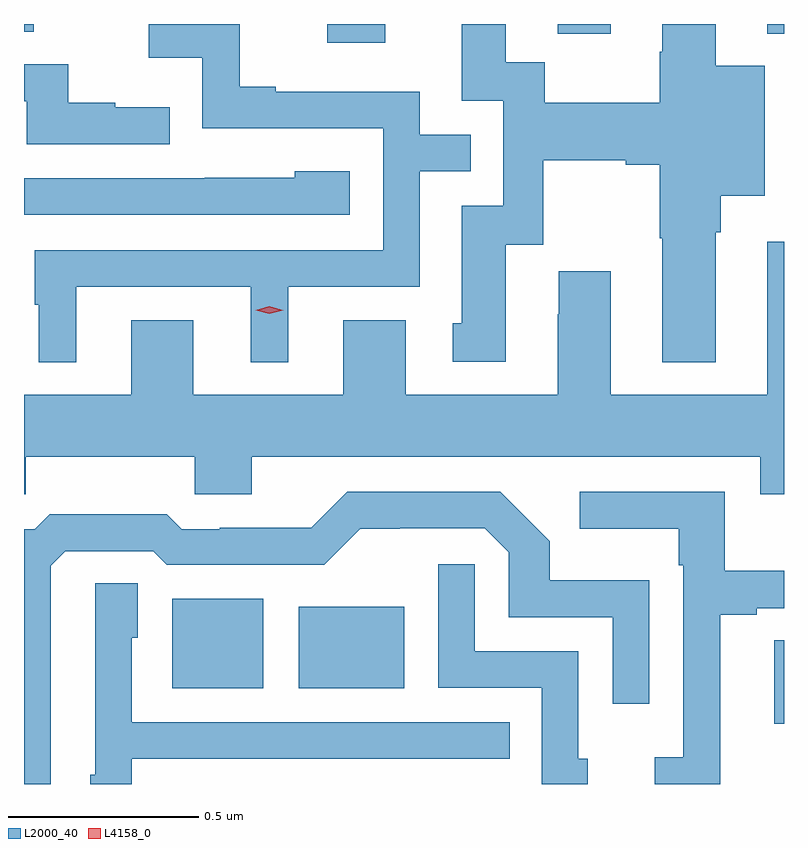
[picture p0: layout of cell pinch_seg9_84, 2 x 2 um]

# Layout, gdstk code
import gdstk
lib = gdstk.Library(unit=1e-6, precision=1e-09)
def R(c, l, rs):  # rectangles x0, y0, x1, y1
    for r in rs: c.add(gdstk.rectangle(r[:2], r[2:], *l))
def P(c, l, *ps):  # polygons
    for p in ps: c.add(gdstk.Polygon(p, *l))
L2000_40 = (2000, 40)
L4158_0 = (4158, 0)

pinch_seg9_84 = lib.new_cell('pinch_seg9_84')
R(pinch_seg9_84, L2000_40, [(1116.395,1198.382,1116.421,1198.601), (1114.811,1198.475,1115.05,1198.711), (1115.144,1198.475,1115.422,1198.69), (1115.219,1200.174,1115.371,1200.223), (1115.825,1200.198,1115.965,1200.223), (1116.377,1200.198,1116.421,1200.223), (1114.421,1200.202,1114.447,1200.223)])
P(pinch_seg9_84, L2000_40, [(1116.241,1199.675),(1116.254,1199.675),(1116.254,1199.771),(1116.37,1199.771),(1116.37,1200.113),(1116.241,1200.113),(1116.241,1200.223),(1116.101,1200.223),(1116.101,1200.15),(1116.094,1200.15),(1116.094,1200.016),(1115.791,1200.016),(1115.791,1200.122),(1115.689,1200.122),(1115.689,1200.223),(1115.573,1200.223),(1115.573,1200.021),(1115.682,1200.021),(1115.682,1199.745),(1115.573,1199.745),(1115.573,1199.436),(1115.549,1199.436),(1115.549,1199.334),(1115.689,1199.334),(1115.689,1199.642),(1115.787,1199.642),(1115.787,1199.864),(1116.005,1199.864),(1116.005,1199.852),(1116.094,1199.852),(1116.094,1199.659),(1116.101,1199.659),(1116.101,1199.333),(1116.241,1199.333)],
  [(1114.558,1199.532),(1115.018,1199.532),(1115.018,1199.333),(1115.116,1199.333),(1115.116,1199.532),(1115.463,1199.532),(1115.463,1199.835),(1115.597,1199.835),(1115.597,1199.931),(1115.463,1199.931),(1115.463,1200.045),(1115.083,1200.045),(1115.083,1200.058),(1114.989,1200.058),(1114.989,1200.223),(1114.749,1200.223),(1114.749,1200.134),(1114.89,1200.134),(1114.89,1199.949),(1115.367,1199.949),(1115.367,1199.628),(1114.449,1199.628),(1114.449,1199.484),(1114.46,1199.484),(1114.46,1199.333),(1114.558,1199.333)],
  [(1114.805,1200.004),(1114.661,1200.004),(1114.661,1200.016),(1114.538,1200.016),(1114.538,1200.117),(1114.421,1200.117),(1114.421,1200.02),(1114.428,1200.02),(1114.428,1199.907),(1114.805,1199.907)],
  [(1115.278,1199.836),(1115.133,1199.836),(1115.133,1199.818),(1114.897,1199.818),(1114.897,1199.817),(1114.421,1199.817),(1114.421,1199.721),(1115.278,1199.721)],
  [(1116.359,1198.985),(1116.421,1198.985),(1116.421,1199.65),(1116.377,1199.65),(1116.377,1199.248),(1115.965,1199.248),(1115.965,1199.572),(1115.828,1199.572),(1115.828,1199.459),(1115.825,1199.459),(1115.825,1199.248),(1115.425,1199.248),(1115.425,1199.443),(1115.261,1199.443),(1115.261,1199.248),(1114.867,1199.248),(1114.867,1199.443),(1114.703,1199.443),(1114.703,1199.248),(1114.421,1199.248),(1114.421,1198.986),(1114.425,1198.986),(1114.425,1199.084),(1114.87,1199.084),(1114.87,1198.986),(1115.02,1198.986),(1115.02,1199.084),(1116.359,1199.084)],
  [(1114.491,1198.797),(1114.53,1198.836),(1114.761,1198.836),(1114.797,1198.8),(1115.211,1198.8),(1115.306,1198.895),(1115.41,1198.895),(1115.41,1198.896),(1115.634,1198.896),(1115.697,1198.833),(1115.697,1198.662),(1115.97,1198.662),(1115.97,1198.434),(1116.066,1198.434),(1116.066,1198.759),(1115.805,1198.759),(1115.805,1198.862),(1115.674,1198.992),(1115.271,1198.992),(1115.177,1198.898),(1114.936,1198.898),(1114.936,1198.893),(1114.836,1198.893),(1114.797,1198.933),(1114.489,1198.933),(1114.449,1198.893),(1114.421,1198.893),(1114.421,1198.223),(1114.491,1198.223)],
  [(1116.253,1198.668),(1116.349,1198.668),(1116.349,1198.686),(1116.421,1198.686),(1116.421,1198.784),(1116.265,1198.784),(1116.265,1198.992),(1115.883,1198.992),(1115.883,1198.895),(1116.144,1198.895),(1116.144,1198.799),(1116.156,1198.799),(1116.156,1198.294),(1116.081,1198.294),(1116.081,1198.223),(1116.253,1198.223)],
  [(1115.905,1198.29),(1115.88,1198.29),(1115.88,1198.572),(1115.607,1198.572),(1115.607,1198.801),(1115.511,1198.801),(1115.511,1198.476),(1115.784,1198.476),(1115.784,1198.223),(1115.905,1198.223)],
  [(1114.704,1198.289),(1115.021,1198.289),(1115.021,1198.29),(1115.699,1198.29),(1115.699,1198.386),(1114.704,1198.386),(1114.704,1198.608),(1114.72,1198.608),(1114.72,1198.751),(1114.608,1198.751),(1114.608,1198.248),(1114.595,1198.248),(1114.595,1198.223),(1114.704,1198.223)])
P(pinch_seg9_84, L4158_0, [(1115.067,1199.46),(1115.031,1199.47),(1115.031,1199.47),(1115.031,1199.47),(1115.067,1199.48),(1115.103,1199.47),(1115.103,1199.47),(1115.103,1199.47)])

lib.write_gds('pinch_seg9_84.gds')
